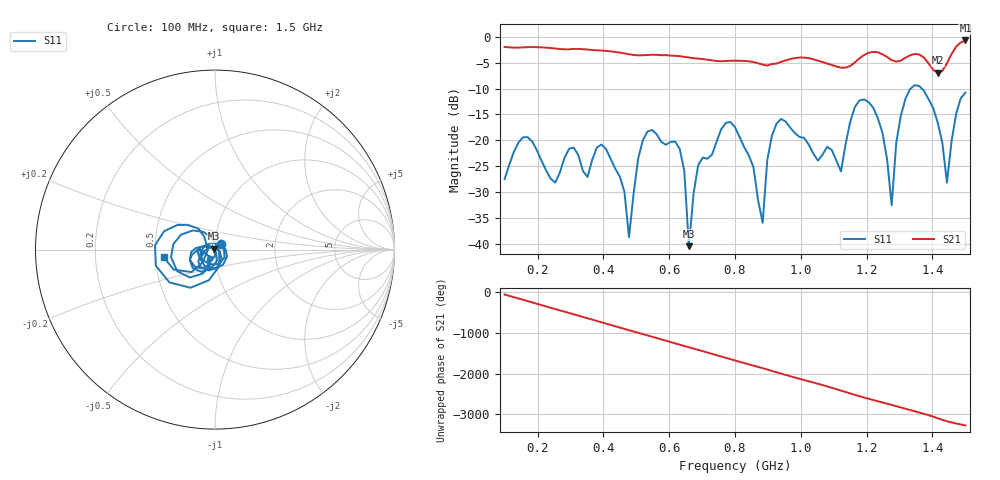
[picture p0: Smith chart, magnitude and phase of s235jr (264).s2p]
! NanoVNA-App
! Date: 2025-09-25 15:06:13
! Start: 100MHz Stop: 1,5GHz Points: 101
! S-Parameter data: F S11 S21 S12 S22
# Hz S RI R 50
!  Frequency  S11_Real  S11_Imag  S21_Real  S21_Imag  S12_Real  S12_Imag  S22_Real  S22_Imag
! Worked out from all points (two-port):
!   101 points, 100 MHz to 1.5 GHz, reference 50 ohm
!   highest |S21| = -0.70 dB at 1.5 GHz (marker M1); lowest = -6.9 dB at 1.416 GHz (marker M2)
!   |S21| within 3 dB of the highest: start of sweep to 625.3 MHz; 1.188 GHz to 1.257 GHz (68.8 MHz wide, 5.63 % of centre) (the widest 2 of 4)
!   lowest |S11| = -40.4 dB at 660 MHz (marker M3), VSWR 1.02, Z = 49.2 + j0.522 ohm
!   |S11| at or under -10 dB: start of sweep to 1.334 GHz; 1.368 GHz to end of sweep
!   S12 and S22 are empty: the file has one direction only
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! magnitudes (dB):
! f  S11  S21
! 100 MHz  -27.5  -2.0
! 156 MHz  -19.4  -2.0
! 338 MHz  -25.9  -2.4
! 408 MHz  -21.7  -2.7
! 478 MHz  -38.7  -3.4
! 520 MHz  -20.0  -3.6
! 576 MHz  -20.3  -3.5
! 632 MHz  -21.6  -3.7
! 660 MHz  -40.4  -4.0
! 688 MHz  -24.8  -4.2
! 800 MHz  -17.5  -4.6
! 884 MHz  -35.9  -5.4
! 926 MHz  -16.8  -5.2
! 1.038 GHz  -22.6  -4.3
! 1.122 GHz  -26.0  -6.0
! 1.206 GHz  -12.6  -3.1
! 1.276 GHz  -32.5  -4.5
! 1.29 GHz  -20.4  -4.8
! 1.332 GHz  -10.1  -3.6
! 1.416 GHz  -16.6  -6.9
! 1.444 GHz  -28.2  -5.1
! 1.5 GHz  -10.8  -0.7
